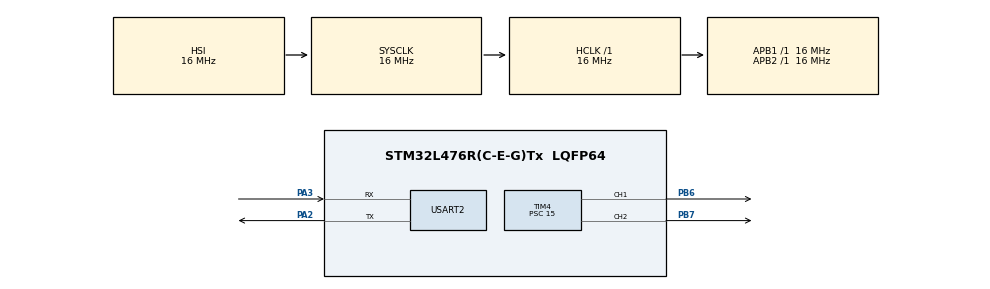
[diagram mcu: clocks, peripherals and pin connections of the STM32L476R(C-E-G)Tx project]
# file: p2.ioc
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Mcu.Family=STM32L4
Mcu.Name=STM32L476R(C-E-G)Tx
Mcu.Package=LQFP64
NVIC.PriorityGroup=NVIC_PRIORITYGROUP_4
PA2.Mode=Asynchronous
PA2.Signal=USART2_TX
PA3.Mode=Asynchronous
PA3.Signal=USART2_RX
PB6.Signal=S_TIM4_CH1
PB7.Signal=S_TIM4_CH2
ProjectManager.HeapSize=0x200
ProjectManager.StackSize=0x400
ProjectManager.TargetToolchain=STM32CubeIDE
RCC.ADCFreq_Value=16000000
RCC.AHBFreq_Value=16000000
RCC.APB1Freq_Value=16000000
RCC.APB1TimFreq_Value=16000000
RCC.APB2Freq_Value=16000000
RCC.APB2TimFreq_Value=16000000
RCC.CortexFreq_Value=16000000
RCC.HCLKFreq_Value=16000000
RCC.HSE_VALUE=8000000
RCC.HSI_VALUE=16000000
RCC.LSE_VALUE=32768
RCC.MSI_VALUE=4000000
RCC.SYSCLKFreq_VALUE=16000000
RCC.SYSCLKSource=RCC_SYSCLKSOURCE_HSI
RCC.USBFreq_Value=16000000
RCC.VCOOutputFreq_Value=32000000
SH.S_TIM4_CH1.0=TIM4_CH1,PWM Generation1 CH1
SH.S_TIM4_CH2.0=TIM4_CH2,PWM Generation2 CH2
TIM4.Channel-PWM\ Generation1\ CH1=TIM_CHANNEL_1
TIM4.Channel-PWM\ Generation2\ CH2=TIM_CHANNEL_2
TIM4.Period=20000
TIM4.Prescaler=15
USART2.VirtualMode-Asynchronous=VM_ASYNC
board=custom

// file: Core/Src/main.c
/* USER CODE BEGIN Header */
/**
  ******************************************************************************
  * @file           : main.c
  * @brief          : Main program body
  ******************************************************************************
  * @attention
  *
  * <h2><center>&copy; Copyright (c) 2021 STMicroelectronics.
  * All rights reserved.</center></h2>
  *
  * This software component is licensed by ST under BSD 3-Clause license,
  * the "License"; You may not use this file except in compliance with the
  * License. You may obtain a copy of the License at:
  *                        opensource.org/licenses/BSD-3-Clause
  *
  ******************************************************************************
  */
/* USER CODE END Header */
#include "main.h"

TIM_HandleTypeDef htim4;

//UART_HandleTypeDef huart2;

void SystemClock_Config(void);
static void MX_GPIO_Init(void);
static void MX_TIM4_Init(void);
static void MX_USART2_UART_Init(void);
/* USER CODE BEGIN PFP */
void startup(void);
/* USER CODE END PFP */

/* USER CODE BEGIN 0 */
void startup(){
	char str[]  = "P(p): pause recipe execution, C(c): continue recipe execution\r\n";
	char str2[] = "B(b): (Re)start recipe execution, N(n): continue no operation\r\n";
	char str3[] = "L(l): Left one position if possible, R(r): right one position";
	USART_Write(huart2.Instance, (uint8_t *)str, strlen(str));
	USART_Write(huart2.Instance, (uint8_t *)str2, strlen(str));
	USART_Write(huart2.Instance, (uint8_t *)str3, strlen(str));
	USART_Write(huart2.Instance, (uint8_t *)"\r\n>", 3);
}
/* USER CODE END 0 */

int main(void)
{

  /* MCU Configuration--------------------------------------------------------*/

  /* Reset of all peripherals, Initializes the Flash interface and the Systick. */
  HAL_Init();

  /* Configure the system clock */
  SystemClock_Config();

  /* Initialize all configured peripherals */
  MX_GPIO_Init();
  MX_TIM4_Init();
  MX_USART2_UART_Init();
  startup();
  /* Infinite loop */
  while (1)
  {
	  get_cmd(huart2); //gets a command from user

	  exec_recipe(1); //execute servo recipes
	  exec_recipe(2);

	  HAL_Delay(100); //100ms time block
  }
}

void SystemClock_Config(void)
{
  RCC_OscInitTypeDef RCC_OscInitStruct = {0};
  RCC_ClkInitTypeDef RCC_ClkInitStruct = {0};

  /** Configure the main internal regulator output voltage
  */
  if (HAL_PWREx_ControlVoltageScaling(PWR_REGULATOR_VOLTAGE_SCALE1) != HAL_OK)
  {
    Error_Handler();
  }
  /** Initializes the RCC Oscillators according to the specified parameters
  * in the RCC_OscInitTypeDef structure.
  */
  RCC_OscInitStruct.OscillatorType = RCC_OSCILLATORTYPE_HSI;
  RCC_OscInitStruct.HSIState = RCC_HSI_ON;
  RCC_OscInitStruct.HSICalibrationValue = RCC_HSICALIBRATION_DEFAULT;
  RCC_OscInitStruct.PLL.PLLState = RCC_PLL_NONE;
  if (HAL_RCC_OscConfig(&RCC_OscInitStruct) != HAL_OK)
  {
    Error_Handler();
  }
  /** Initializes the CPU, AHB and APB buses clocks
  */
  RCC_ClkInitStruct.ClockType = RCC_CLOCKTYPE_HCLK|RCC_CLOCKTYPE_SYSCLK
                              |RCC_CLOCKTYPE_PCLK1|RCC_CLOCKTYPE_PCLK2;
  RCC_ClkInitStruct.SYSCLKSource = RCC_SYSCLKSOURCE_HSI;
  RCC_ClkInitStruct.AHBCLKDivider = RCC_SYSCLK_DIV1;
  RCC_ClkInitStruct.APB1CLKDivider = RCC_HCLK_DIV1;
  RCC_ClkInitStruct.APB2CLKDivider = RCC_HCLK_DIV1;

  if (HAL_RCC_ClockConfig(&RCC_ClkInitStruct, FLASH_LATENCY_0) != HAL_OK)
  {
    Error_Handler();
  }
}

static void MX_TIM4_Init(void)
{

  TIM_MasterConfigTypeDef sMasterConfig = {0};
  TIM_OC_InitTypeDef sConfigOC = {0};

  htim4.Instance = TIM4;
  htim4.Init.Prescaler = 15;
  htim4.Init.CounterMode = TIM_COUNTERMODE_UP;
  htim4.Init.Period = 20000;
  htim4.Init.ClockDivision = TIM_CLOCKDIVISION_DIV1;
  htim4.Init.AutoReloadPreload = TIM_AUTORELOAD_PRELOAD_DISABLE;
  if (HAL_TIM_PWM_Init(&htim4) != HAL_OK)
  {
    Error_Handler();
  }
  sMasterConfig.MasterOutputTrigger = TIM_TRGO_RESET;
  sMasterConfig.MasterSlaveMode = TIM_MASTERSLAVEMODE_DISABLE;
  if (HAL_TIMEx_MasterConfigSynchronization(&htim4, &sMasterConfig) != HAL_OK)
  {
    Error_Handler();
  }
  sConfigOC.OCMode = TIM_OCMODE_PWM1;
  sConfigOC.Pulse = 0;
  sConfigOC.OCPolarity = TIM_OCPOLARITY_HIGH;
  sConfigOC.OCFastMode = TIM_OCFAST_DISABLE;
  if (HAL_TIM_PWM_ConfigChannel(&htim4, &sConfigOC, TIM_CHANNEL_1) != HAL_OK)
  {
    Error_Handler();
  }
  if (HAL_TIM_PWM_ConfigChannel(&htim4, &sConfigOC, TIM_CHANNEL_2) != HAL_OK)
  {
    Error_Handler();
  }
  /* USER CODE BEGIN TIM4_Init 2 */
  TIM4->CCMR1 |= TIM_CCMR1_OC1PE|TIM_CCMR1_OC2PE;
  TIM4->CCER |= (TIM_CCER_CC1E|TIM_CCER_CC2E);

  HAL_TIM_PWM_Start(&htim4, TIM_CHANNEL_1);
  HAL_TIM_PWM_Start(&htim4, TIM_CHANNEL_2);

  TIM4->CCR1 = 1500;
  TIM4->CCR2 = 1500;
  /* USER CODE END TIM4_Init 2 */
  HAL_TIM_MspPostInit(&htim4);

}

static void MX_USART2_UART_Init(void)
{

  huart2.Instance = USART2;
  huart2.Init.BaudRate = 115200;
  huart2.Init.WordLength = UART_WORDLENGTH_8B;
  huart2.Init.StopBits = UART_STOPBITS_1;
  huart2.Init.Parity = UART_PARITY_NONE;
  huart2.Init.Mode = UART_MODE_TX_RX;
  huart2.Init.HwFlowCtl = UART_HWCONTROL_NONE;
  huart2.Init.OverSampling = UART_OVERSAMPLING_16;
  huart2.Init.OneBitSampling = UART_ONE_BIT_SAMPLE_DISABLE;
  huart2.AdvancedInit.AdvFeatureInit = UART_ADVFEATURE_NO_INIT;
  if (HAL_UART_Init(&huart2) != HAL_OK)
  {
    Error_Handler();
  }

}

static void MX_GPIO_Init(void)
{

  /* GPIO Ports Clock Enable */
  __HAL_RCC_GPIOA_CLK_ENABLE();
  __HAL_RCC_GPIOB_CLK_ENABLE();

}

void Error_Handler(void)
{
  __disable_irq();
  while (1)
  {
  }
}

/************************ (C) COPYRIGHT STMicroelectronics *****END OF FILE****/
